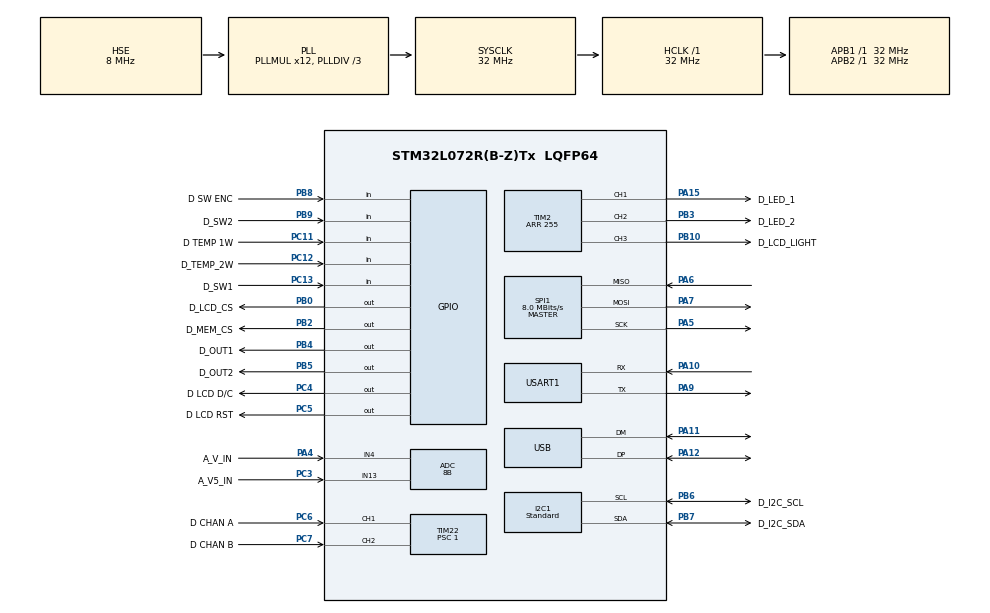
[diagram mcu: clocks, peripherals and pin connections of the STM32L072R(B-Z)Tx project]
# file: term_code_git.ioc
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ADC.Resolution=ADC_RESOLUTION_8B
ADC.SamplingTime=ADC_SAMPLETIME_1CYCLE_5
I2C1.I2C_Speed_Mode=I2C_Standard
I2C1.Speed=100
I2C1.Timing=0x00707CBB
Mcu.Family=STM32L0
Mcu.Name=STM32L072R(B-Z)Tx
Mcu.Package=LQFP64
NVIC.RTC_IRQn=true\:0\:0\:false\:false\:true\:true\:true
NVIC.TIM21_IRQn=true\:0\:0\:false\:false\:true\:true\:true
NVIC.USB_IRQn=true\:0\:0\:false\:false\:true\:true\:true
PA10.Mode=Asynchronous
PA10.Signal=USART1_RX
PA11.Mode=Device
PA11.Signal=USB_DM
PA12.Mode=Device
PA12.Signal=USB_DP
PA13.Mode=Serial_Wire
PA13.Signal=SYS_SWDIO
PA14.Mode=Serial_Wire
PA14.Signal=SYS_SWCLK
PA15.GPIO_Label=D_LED_1
PA15.Signal=S_TIM2_CH1
PA4.GPIO_Label=A_V_IN
PA4.Mode=IN4
PA4.Signal=ADC_IN4
PA5.Mode=Full_Duplex_Master
PA5.Signal=SPI1_SCK
PA6.Mode=Full_Duplex_Master
PA6.Signal=SPI1_MISO
PA7.Mode=Full_Duplex_Master
PA7.Signal=SPI1_MOSI
PA9.Mode=Asynchronous
PA9.Signal=USART1_TX
PB0.GPIO_Label=D_LCD_CS
PB0.PinState=GPIO_PIN_SET
PB0.Signal=GPIO_Output
PB10.GPIO_Label=D_LCD_LIGHT
PB10.Signal=S_TIM2_CH3
PB11.GPIO_Label=D SWO
PB11.Signal=EVENTOUT
PB2.GPIO_Label=D_MEM_CS
PB2.Signal=GPIO_Output
PB3.GPIO_Label=D_LED_2
PB3.Signal=S_TIM2_CH2
PB4.GPIO_Label=D_OUT1
PB4.Signal=GPIO_Output
PB5.GPIO_Label=D_OUT2
PB5.Signal=GPIO_Output
PB6.GPIO_Label=D_I2C_SCL
PB6.Mode=I2C
PB6.Signal=I2C1_SCL
PB7.GPIO_Label=D_I2C_SDA
PB7.Mode=I2C
PB7.Signal=I2C1_SDA
PB8.GPIO_Label=D SW ENC
PB8.GPIO_PuPd=GPIO_PULLUP
PB8.Signal=GPIO_Input
PB9.GPIO_Label=D_SW2
PB9.GPIO_PuPd=GPIO_PULLUP
PB9.Signal=GPIO_Input
PC11.GPIO_Label=D TEMP 1W
PC11.Signal=GPIO_Input
PC12.GPIO_Label=D_TEMP_2W
PC12.Signal=GPIO_Input
PC13.GPIO_Label=D_SW1
PC13.GPIO_PuPd=GPIO_PULLUP
PC13.Signal=GPIO_Input
PC14-OSC32_IN.Mode=LSE-External-Oscillator
PC14-OSC32_IN.Signal=RCC_OSC32_IN
PC15-OSC32_OUT.Mode=LSE-External-Oscillator
PC15-OSC32_OUT.Signal=RCC_OSC32_OUT
PC3.GPIO_Label=A_V5_IN
PC3.Mode=IN13
PC3.Signal=ADC_IN13
PC4.GPIO_Label=D LCD D/C
PC4.Signal=GPIO_Output
PC5.GPIO_Label=D LCD RST
PC5.Signal=GPIO_Output
PC6.GPIO_Label=D CHAN A
PC6.GPIO_PuPd=GPIO_PULLUP
PC6.Signal=S_TIM22_CH1
PC7.GPIO_Label=D CHAN B
PC7.GPIO_PuPd=GPIO_PULLUP
PC7.Signal=S_TIM22_CH2
PH0-OSC_IN.Mode=HSE-External-Oscillator
PH0-OSC_IN.Signal=RCC_OSC_IN
PH1-OSC_OUT.Mode=HSE-External-Oscillator
PH1-OSC_OUT.Signal=RCC_OSC_OUT
ProjectManager.HeapSize=0x200
ProjectManager.StackSize=0x400
ProjectManager.TargetToolchain=Makefile
RCC.AHBFreq_Value=32000000
RCC.APB1Freq_Value=32000000
RCC.APB1TimFreq_Value=32000000
RCC.APB2Freq_Value=32000000
RCC.APB2TimFreq_Value=32000000
RCC.HCLKFreq_Value=32000000
RCC.HSE_VALUE=8000000
RCC.HSI16_VALUE=16000000
RCC.HSI48_VALUE=48000000
RCC.HSI_VALUE=16000000
RCC.MSIClockRange=RCC_MSIRANGE_2
RCC.MSI_VALUE=262144
RCC.PLLDIV=RCC_PLLDIV_3
RCC.PLLMUL=RCC_PLLMUL_12
RCC.RTCClockSelectionVirtual=RCC_RTCCLKSOURCE_LSE
RCC.SYSCLKFreq_VALUE=32000000
RCC.SYSCLKSource=RCC_SYSCLKSOURCE_PLLCLK
RCC.VCOOutputFreq_Value=96000000
RTC.Date=6
RTC.WakeUpCounter-WakeUp=0x2616
RTC.Year=18
SH.S_TIM22_CH1.0=TIM22_CH1,Encoder_Interface
SH.S_TIM22_CH2.0=TIM22_CH2,Encoder_Interface
SH.S_TIM2_CH1.0=TIM2_CH1,PWM Generation1 CH1
SH.S_TIM2_CH2.0=TIM2_CH2,PWM Generation2 CH2
SH.S_TIM2_CH3.0=TIM2_CH3,PWM Generation3 CH3
SPI1.BaudRatePrescaler=SPI_BAUDRATEPRESCALER_4
SPI1.CLKPhase=SPI_PHASE_1EDGE
SPI1.CLKPolarity=SPI_POLARITY_LOW
SPI1.CalculateBaudRate=8.0 MBits/s
SPI1.Direction=SPI_DIRECTION_2LINES
SPI1.Mode=SPI_MODE_MASTER
SPI1.VirtualType=VM_MASTER
TIM2.Channel-PWM\ Generation1\ CH1=TIM_CHANNEL_1
TIM2.Channel-PWM\ Generation2\ CH2=TIM_CHANNEL_2
TIM2.Channel-PWM\ Generation3\ CH3=TIM_CHANNEL_3
TIM2.Period=255
TIM21.ClockDivision=TIM_CLOCKDIVISION_DIV1
TIM21.Period=0x0FFFF
TIM21.Prescaler=32
TIM22.CounterMode=TIM_COUNTERMODE_UP
TIM22.EncoderMode=TIM_ENCODERMODE_TI1
TIM22.IC1Polarity=TIM_ICPOLARITY_FALLING
TIM22.IC1Prescaler=TIM_ICPSC_DIV2
TIM22.IC2Polarity=TIM_ICPOLARITY_RISING
TIM22.IC2Prescaler=TIM_ICPSC_DIV2
TIM22.Period=0xFF
TIM22.Prescaler=1
USART1.VirtualMode-Asynchronous=VM_ASYNC
USB_DEVICE.CLASS_NAME_FS=CDC
USB_DEVICE.USBD_HandleTypeDef=hUsbDeviceFS
USB_DEVICE.VirtualMode=Cdc
USB_DEVICE.VirtualModeFS=Cdc_FS
VP_RTC_VS_RTC_Activate.Mode=RTC_Enabled
VP_RTC_VS_RTC_Calendar.Mode=RTC_Calendar
VP_RTC_VS_RTC_WakeUp_intern.Mode=WakeUp
VP_TIM21_VS_ClockSourceINT.Mode=Internal
VP_USB_DEVICE_VS_USB_DEVICE_CDC_FS.Mode=CDC_FS
board=Termostat_git

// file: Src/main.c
/* USER CODE BEGIN Header */
/**
  ******************************************************************************
  * @file           : main.c
  * @brief          : Main program body
  ******************************************************************************
  * @attention
  *
  * <h2><center>&copy; Copyright (c) 2021 STMicroelectronics.
  * All rights reserved.</center></h2>
  *
  * This software component is licensed by ST under Ultimate Liberty license
  * SLA0044, the "License"; You may not use this file except in compliance with
  * the License. You may obtain a copy of the License at:
  *                             www.st.com/SLA0044
  *
  ******************************************************************************
  */
/* USER CODE END Header */
#include "main.h"
#include "adc.h"
#include "i2c.h"
#include "rtc.h"
#include "spi.h"
#include "tim.h"
#include "usart.h"
#include "usb_device.h"
#include "gpio.h"

/* USER CODE BEGIN Includes */
/**popis
 * 28.9.2020 - testovani Logovani
 *
 * Ukoly:
 * pridej MENU, s nastavenim casu a teplot. funkcni
 * nastveni - 115200-8-N-1, /dev/ttyACM0 // pouzivam "cutecom"
 */
#include "global.h"
#include "pinmap.h"
#include "peripherals.h"
#include "BME280.h"
#include "lcd_12864.h"
#include "ds18b20.h"
#include <stdio.h>
#include "usbd_cdc_if.h"
#include "rtc_api.h"
#include "Time.h"
#include "menu.h"
#include "log.h"
#include "sleep.h"
#include "waiter.h"
#include "heater.h"
#include "usb_api.h"
#include "pwm.h"
/* USER CODE END Includes */

/* USER CODE BEGIN PV */

static States_loop current_state;
static Screen show;
Heating_mode heat_mode;
Mode_auto_s temp_auto; // struktura pro automaticky rezim
Flags_main flags;
uint32_t citac = 0;
int8_t en_count = 0;
int32_t temperature = -20000;
int32_t humid = -5;
uint32_t presure = 0;

// Temp_seting and driving
int32_t temperature_set;
int32_t temperature_manual = 2000;
;
// END Temp_seting and driving

Buttons pushed_button; //cleared each main cycle

/* USER CODE END PV */

void SystemClock_Config(void);

int main(void)
{

	/* MCU Configuration--------------------------------------------------------*/

	/* Reset of all peripherals, Initializes the Flash interface and the Systick. */
	HAL_Init();

	/* Configure the system clock */
	SystemClock_Config();

	/* USER CODE BEGIN SysInit */

	char buffer_s[32];
	//char buffer_usb [32];

	uint16_t T_led = 20;
	actual_HALtick.tick = 0, past_HALtick.tick = 0;
	uint32_t InputVoltage = 0;
	uint8_t en_count_last = 0;
	int16_t count1;
	uint16_t sirka = 0;
	char aShowTime[50] = {0};
	uint8_t heat_instant = 0;

	//debug
	Bool show_time = TRUE;
	//debug

	//timeouts
	Compare_t backlite_compare, measure_compare, led_compare, time_compare, button_compare, heating_compare, logging_compare, show_timeout, heating_instant_timeout;
	backlite_compare.overflow = FALSE, measure_compare.overflow = FALSE, led_compare.overflow = FALSE, time_compare.overflow = FALSE, button_compare.overflow = FALSE, heating_compare.overflow = FALSE, logging_compare.overflow = FALSE, show_timeout.overflow = FALSE, heating_instant_timeout.overflow = FALSE;
	actual_HALtick.overflow = FALSE;
	past_HALtick.overflow = FALSE;

	/* USER CODE END SysInit */

	/* Initialize all configured peripherals */
	MX_GPIO_Init();
	MX_ADC_Init();
	MX_I2C1_Init();
	MX_RTC_Init();
	MX_SPI1_Init();
	MX_TIM21_Init();
	MX_TIM22_Init();
	MX_USB_DEVICE_Init();
	MX_TIM2_Init();
	MX_USART1_UART_Init();
	/* USER CODE BEGIN 2 */

	backlite_init();
	fill_comparer(BACKLITE_TIMEOUT, &backlite_compare);

	lcd12864_init(&hspi1);
	line(0, 60, 110, 60, 1);
	lcd_setCharPos(0, 0);
	lcd_printString("Initialization unit\r");
	lcd_printString("termostat_git\r");
	snprintf(buffer_s, 11, "SW v 0.%d", SW_VERSION);
	lcd_printString(buffer_s);

	HAL_TIM_Encoder_Start(&htim22, TIM_CHANNEL_1);

	htim22.Instance->EGR = 1; // Generate an update event
	htim22.Instance->CR1 = 1; // Enable the counter

	BME280_init(&hi2c1, DEFAULT_SLAVE_ADDRESS); // initialization of temp/humid sensor BOSH

#ifdef DEBUG_TERMOSTAT //debug

#endif

	HAL_Delay(1500);
	lcd_clear();

	//settings variables to default values
	flags.heating_up = FALSE;

	current_state = MEASURING;
	show = desktop;
	flags.log_enable = TRUE; // logging of the actions

	hrej();
	//Init of timers
	fill_comparer(LED_PERIODE, &led_compare);
	fill_comparer(MEASURE_PERIODE, &measure_compare);
	fill_comparer(TIME_PERIODE, &time_compare);
	fill_comparer(BUT_DELAY, &button_compare);
	fill_comparer(10, &heating_compare);		 // check it immediately
	fill_comparer_seconds(30, &logging_compare); // chci zapisovat hned po zmereni hodnot / ZAPNUTI

	mode_auto_init(&temp_auto); // inicializace automatickeho temperovani - nulovani

	show_timeout.tick = 0xfffffffe;
	heating_instant_timeout.tick = 0;
	// ADC - calibration
	if (HAL_ADCEx_Calibration_Start(&hadc, ADC_SINGLE_ENDED) != HAL_OK)
	{
		Error_Handler();
	}

	/* USER CODE END 2 */

	/* Infinite loop */
	/* USER CODE BEGIN WHILE */

	for (;;)
	{

		switch (current_state)
		{
		case SLEEP:
		{ //			neni potreba spanku
			Go_To_Sleep(&hrtc);
			current_state = MEASURING;
			show_time = TRUE;
			break;
		}
		case IDLE:
		{
			break;
		}
		case MEASURING:
		{

			temperature = BME280_getTemperature();
			humid = BME280_getHumidity();
			//	presure=BME280_getPressure();
			current_state = IDLE;
#ifdef DEBUG_TERMOSTAT //debug
			current_state = VOLTAGE;
#endif
			flags.new_data_to_show = TRUE;

			fill_comparer(MEASURE_PERIODE, &measure_compare);
			break;
		}
		case VOLTAGE:

		{
			HAL_ADC_Start(&hadc);
			if (HAL_ADC_PollForConversion(&hadc, 10) == HAL_OK)
			{
				InputVoltage = HAL_ADC_GetValue(&hadc);
			}

			flags.new_data_to_show = TRUE;
			current_state = IDLE;

			break;
		}
		/* there is a process, of heating with the heater.
		 *The heater is turned on by OUT1, when the temperature is below temperature_set-Hysteresis
		 */
		case HEATING:
		{

			if (AUTO == heat_mode)
			{
				temperature_set = mode_auto_temperature(&temp_auto, &hrtc); // teplota na jakou se ma topit

				if (temperature_set == -20000) // vypni topeni
				{
					flags.heating_up = FALSE;
					flags.regulation_temp = FALSE;
				}
				else if (temperature_set == -21000)
				{
					flags.heating_up = FALSE;
					flags.regulation_temp = FALSE;
				}
				else
				{
					flags.regulation_temp = TRUE;
				}
			}

			if (flags.heating_instant) // INSTANTni vyhrivani - vzdy jen max 2 hodiny
			{
				if (!comparer_timeout(&heating_instant_timeout))
					turnOnHeater(temperature);
				else
				{
					flags.heating_instant = FALSE;
					flags.heating_instant_req = TRUE;
					heat_instant = 0;
				}
			}
			else // bezny provoz
			{
				if (flags.regulation_temp & (temperature < temperature_set))
				{
					if (flags.heating_up) // if the heater is turned on, keep continue with heating.
					{
						turnOnHeater(temperature);
					}
					else
					{ // when the heater is not active, wait until the temperature fall below threshold-Hysteresis
						if (temperature < (temperature_set - HEATING_HYSTERESIS))
						{
							flags.heating_up = TRUE;
							turnOnHeater(temperature);
						}
					}
				} // end-if

				else // vypni topeni
				{

					turnOffHeater();
					flags.heating_up = FALSE;
				}
			}
			fill_comparer(HEATING_PERIODE, &heating_compare);
			current_state = IDLE;
			break;
		}
#ifdef LOG_ENABLE
		case LOG:
		{
			if (flags.log_enable)
			{
				Log_Temperature(&hrtc, temperature, humid);
			}
			fill_comparer_seconds(LOG_PERIODE, &logging_compare);
			sirka = Log_memory_fullness() * LCD_WIDTH / LOG_DATA_LENGTH;
			current_state = IDLE;
			break;
		}
#endif
		default:
		{
			break;
		}

		} // end of switch CURRENT STATE

		/* **** SCREEN **** */
		switch (show)
		{

		case blind:
		{
			lcd_clear();
			show = idle;
			break;
		}
		case desktop:
		{ // showing main screen - temperatures and Hum
			if (flags.new_data_to_show == TRUE)
			{
				// BME280 sensor
				lcd_setCharPos(1, 2);
				char_magnitude(2);
				snprintf(buffer_s, 12, "%3ld.%02d C", temperature / 100, abs(temperature % 100));
				lcd_printString(buffer_s);
#ifdef DEBUG_TERMOSTAT //debug
				char_magnitude(1);
#endif
				char_magnitude(1);
				lcd_setCharPos(5, 2);
				snprintf(buffer_s, 21, "Humidity  %3ld.%02ld%%", (humid / 1024), humid % 1024 * 100 / 1024);
				lcd_printString(buffer_s);
#ifdef DEBUG_TERMOSTAT //debug
				char_magnitude(2);
#endif
				// Marking - heating is active/not active
				lcd_setCharPos(3, 4);
				lcd_printString(MENU_SET_TEMP_AUTO_STATE_TEXT);
				lcd_printString(" ");
				switch (heat_mode)
				{
				case OFF:
					lcd_printString("OFF ");
					break;
				case MANUAL:
					lcd_printString("ON  ");
					break;
				case AUTO:
					lcd_printString("Auto");
					break;
				default:
					lcd_printString("Err"); //ERROR dostal jsem se mimo definovanou skupinu
					break;
				}

				if (flags.heating_instant_req)
				{
					flags.heating_instant_req = FALSE;
					if (!flags.heating_instant)
					{
						lcd_setCharPos(4, 19);
						lcd_printString(" ");
						char_magnitude(1);
						lcd_setCharPos(6, 15);
						snprintf(buffer_s, 8, "        ");
						lcd_printString(buffer_s);
					}
				}

				// END Marking - heating is active/not active

				char_magnitude(1);
				lcd_setCharPos(4, 3);
				if (-20000 == temperature_set)
					snprintf(buffer_s, 24, MENU_DESKTOP_TEMP_SET_TEXT"  OFF       ");
				else if (-21000 == temperature_set)
				{
					snprintf(buffer_s, 24, MENU_DESKTOP_TEMP_SET_TEXT" NO PRESET");
				}
				else
					snprintf(buffer_s, 24, MENU_DESKTOP_TEMP_SET_TEXT" %3ld.%02d C ", temperature_set / 100, abs(temperature_set % 100));
				lcd_printString(buffer_s);

				/*	lcd_setCharPos(6,4);
  					snprintf(buffer_s, 18, "Pres %d.%02d hp",presure/100,presure%100);
  					lcd_printString(buffer_s);
				 */

#ifdef DEBUG_TERMOSTAT //debug
				lcd_setCharPos(5, 0);
				snprintf(buffer_s, 13, "%lu-> %lu.%02luV", InputVoltage, InputVoltage * 66 / 2550, (InputVoltage * 66 % 2550 * 100 / 255) / 10); // get two numbers for voltage
				lcd_printString(buffer_s);
#endif
				flags.new_data_to_show = FALSE; // the data was showed.

				/* Ukazka plnosti pameti na logovani */
				// cara bude na spodni strane a bude tri tecky siroka
				{
					line(0, 62, sirka, 62, 1);
				}

				if ((heat_mode == AUTO) & (!flags.heating_instant))
					mode_auto_graph(&temp_auto, &hrtc); // zakresleni casoveho diagramu zapnuti/ vypnuti topeni

			} // end if - new data to show
			if (show_time)
			{
				RTC_DateShow(&hrtc, aShowTime);
				lcd_setCharPos(0, 11);
				lcd_printString(aShowTime);
				RTC_TimeShow(&hrtc, aShowTime);
				lcd_setCharPos(0, 1);
				lcd_printString(aShowTime);

				if (flags.heating_instant) // odpocet casu pro instant heating
				{
					char_magnitude(2);
					lcd_setCharPos(4, 19);
					_putc(0x07f);
					char_magnitude(1);
					lcd_setCharPos(6, 15);
					uint16_t instantEndTime = end_of_timeout(&heating_instant_timeout);
					snprintf(buffer_s, 8, "%3u:%02u", instantEndTime / 60, instantEndTime % 60);
					lcd_printString(buffer_s);
				}
				fill_comparer(TIME_PERIODE, &time_compare);
				show_time = FALSE;
			}
			break;
		}
		case idle:
		{
			break;
		}

		case menu:
		{
			display_menu(ActualMenu);
			break;
		}

		case debug:
		{
			lcd_clear();
			RTC_DateShow(&hrtc, aShowTime);
			lcd_setCharPos(1, 10);
			lcd_printString(aShowTime);

			RTC_TimeShow(&hrtc, aShowTime);
			lcd_setCharPos(1, 0);
			lcd_printString(aShowTime);

			//CITAC
			uint32_t sekundy = (SlaveCounter << 16) / 1000000;

			lcd_setCharPos(4, 1);
			snprintf(buffer_s, 20, "%03lu:%02lu", sekundy / 60, sekundy % 60);
			lcd_printString(buffer_s);

			// reading the actual number from encoder

			count1 = htim22.Instance->CNT;
			lcd_setCharPos(5, 0);
			snprintf(buffer_s, 25, "s %i \r t %i ms", (count1 + T_led) * MAIN_LOOP * 2, MAIN_LOOP * 2 * T_led);
			lcd_printString(buffer_s);

			lcd_setCharPos(7, 0);
			snprintf(buffer_s, 9, "EN%03i", (count1));
			lcd_printString(buffer_s);

			snprintf(buffer_s, 12, "; enc%03i", (en_count));
			lcd_printString(buffer_s);

			HAL_Delay(500);
			break;
		}
		default:
		{
			lcd_setCharPos(1, 1);
			lcd_printString("ERROR display -default");
		}
		} // switch show
		/**
		 * 2.1.2018 -
  	1) objevil jsem chybu pri cteni time elapsing. Mam to spatne. Muze se stat, ze mi timer bude blbe fungovat, kdyz budu pricitat testne pred pretecenim promene a vykonavani se bude konat mozna az po preteceni timeru...

  	2) Cteni tlacitek by se melo provadet pokazde a po stisknuti by se melo dalsi cteni oddalit na delsi cas - 200-300 ms?
		 *
		 */

		/* *------ TIME ELAPSING CHECK -------* */
		get_actual_HAL_tick(); // put the actual number of ms counter to variable actual_HALtic.tick

		if (comparer_timeout(&logging_compare)) //log data after defined period.
		{
			current_state = LOG;
		}
		if (comparer_timeout(&heating_compare)) //measure after defined period.
		{
			current_state = HEATING;
		}
		if (comparer_timeout(&measure_compare)) //measure after defined period.
		{
			current_state = MEASURING;
		}
		if (comparer_timeout(&time_compare)) //change time after defined period.
		{
			show_time = TRUE;
		}

		if (comparer_timeout(&show_timeout)) //change time after defined period.
		{
			show = desktop;
		}
		// MENU TIMEOUT
		if (TRUE == flags.menu_running)
		{ // je to takhle slozite , protoze jsem neprisel na jiny efektivni zpusob, jak smazat displej, po zkonceni menu
			if (!menu_timout())
			{
				uint8_t menu_exit_code = menu_action();
				if (1 != menu_exit_code)
				{ // exit from menu condition

					switch (menu_exit_code)
					{
					case 20: // exit after log erasse
						sirka = Log_memory_fullness() * LCD_WIDTH / LOG_DATA_LENGTH;
						break;
					}
					flags.menu_running = 0;
					lcd_clear();
					show = desktop;
				}
				else
					show = menu;
			} // if menu - TIMEOUT
			else
			{
				flags.menu_running = 0;
				lcd_clear();
				show = desktop;
			}
			fill_comparer(BACKLITE_TIMEOUT, &backlite_compare); // Pro udrzeni rozsviceneho displeje v menu! NETESTOVANO.
		}
		if (flags.temp_new_set)
		{
			flags.temp_new_set = FALSE;
			temperature_set = temperature_manual;
			show = desktop;
		}
		if (comparer_timeout(&backlite_compare))
		{
			backliteOff();
		}

		/* *---- READ KEYBOARD -----* */

		pushed_button = BUT_NONE;
		if (comparer_timeout(&button_compare)) //every delay time
		{
			pushed_button = checkButtons();
			fill_comparer(BUT_DELAY, &button_compare);

			// reading the actual number from encoder
			uint32_t actual_counter_CNT = htim22.Instance->CNT;
			if (en_count_last != actual_counter_CNT)
			{
				en_count += actual_counter_CNT - en_count_last;
				en_count_last = actual_counter_CNT;
				flags.enc_changed = TRUE;
				if (pushed_button == BUT_NONE) // enabling light/ increase time constants.
					pushed_button = ENCODER;
			}
		}
		if (pushed_button != BUT_NONE) // any button pushed?
		{
			backliteOn();
			fill_comparer(BUT_DELAY * 300, &button_compare); // 200x - zpozdeni cteni pri stisknuti
			fill_comparer(BACKLITE_TIMEOUT, &backlite_compare);
			fill_comparer(SHOW_TIMEOUT, &show_timeout);
			// neco se zmenilo uzivatel - prekreslit cely displej
			flags.new_data_to_show = TRUE;
		}

		// -- BUTTON PROCCESS
		switch (pushed_button)
		{
		case BUT_1:
		{ // activate heater

			heat_mode++; // cyklovani modu pro termostat
			switch (heat_mode)
			{
			case OFF:
			{
				flags.regulation_temp = FALSE;
#ifndef DEBUG_TERMOSTAT								  ///// NOT - NEGOVANE!
				temperature_set = temperature_manual; // kvuli zobrazovani, jinak tam muze byt -210 apodobne
#endif
				mode_auto_graph_delete();
				break;
			}
			case MANUAL:
			{
				flags.regulation_temp = TRUE;
				flags.heating_up = TRUE;
				temperature_set = temperature_manual;
				mode_auto_graph_delete();
				break;
			}
			case AUTO:
			{
				flags.regulation_temp = TRUE;
				flags.heating_up = TRUE;
				break;
			}
			default:
			{
				flags.regulation_temp = FALSE;
				heat_mode = OFF;
				break;
			}
			}

			break;
		}
		case BUT_2:
		{ // Immediattely heating for 15 minutes

			flags.heating_instant = TRUE;
			flags.heating_instant_req = TRUE;
			heat_instant++;
			if (6 < heat_instant)
			{
				flags.heating_instant = FALSE;
				heat_instant = 0;
			}
			fill_comparer_seconds(HEATING_INSTANT * heat_instant, &heating_instant_timeout);
			break;
		}
		case BUT_ENC:
		{
			flags.enc_changed = TRUE; // jenom pomoc aby se zobrazila sipka vzdy...
			if (0 == flags.menu_running)
			{
				flags.menu_activate = 1;
				en_count = 0;
				en_count_last = 0;
				htim22.Instance->CNT = 0;
				activation_memu();
				lcd_clear();
				show = menu;

				// if this command means go to menu, That there shouldn't be no more pressed.
				pushed_button = BUT_NONE;
			}
			break;
		}
		case ENCODER:
		{
			break;
		}
		default:
		{

			break;
		}

		} // switch pushed button

		HAL_Delay(MAIN_LOOP);

#ifdef DEBUG_TERMOSTAT
		debug_led_heartbeat();
#endif
		/*
#ifdef DEBUG_TERMOSTAT
uint8_t buffer_menu2 [32] = "";
		cas_konce = HAL_GetTick();
		cas_index++;
		cas_aktualni = cas_konce - cas_zacatku;
		cas_celkem += cas_aktualni;
		cas_prumer = cas_celkem / cas_index;
if(0==cas_index%100){
		snprintf(buffer_s, 18, "aktualni %08lu", cas_aktualni);
		for (int j=0; j<32;j++){
						buffer_menu2[j] = (uint8_t *)buffer_s[j];
					}
		{
			HAL_Delay(3);
			cas_transmit = CDC_Transmit_FS(&buffer_menu2[0],18);
		}while (cas_transmit == USBD_BUSY);
		cas_transmit = 1;
		snprintf(buffer_s, 16, "prumer %08lu", cas_prumer);
		for (int j=0; j<32;j++){
						buffer_menu2[j] = (uint8_t *)buffer_s[j];
					}
		{
			HAL_Delay(3);
			cas_transmit = CDC_Transmit_FS(&buffer_menu2[0],16);
		}while (cas_transmit == USBD_BUSY);
}

#endif
*/
		/* USER CODE END WHILE */

	}
}

void SystemClock_Config(void)
{
	RCC_OscInitTypeDef RCC_OscInitStruct = {0};
	RCC_ClkInitTypeDef RCC_ClkInitStruct = {0};
	RCC_PeriphCLKInitTypeDef PeriphClkInit = {0};

	/** Configure the main internal regulator output voltage
  */
	__HAL_PWR_VOLTAGESCALING_CONFIG(PWR_REGULATOR_VOLTAGE_SCALE1);
	/** Configure LSE Drive Capability
  */
	HAL_PWR_EnableBkUpAccess();
	__HAL_RCC_LSEDRIVE_CONFIG(RCC_LSEDRIVE_LOW);
	/** Initializes the RCC Oscillators according to the specified parameters
  * in the RCC_OscInitTypeDef structure.
  */
	RCC_OscInitStruct.OscillatorType = RCC_OSCILLATORTYPE_HSE | RCC_OSCILLATORTYPE_LSE;
	RCC_OscInitStruct.HSEState = RCC_HSE_ON;
	RCC_OscInitStruct.LSEState = RCC_LSE_ON;
	RCC_OscInitStruct.PLL.PLLState = RCC_PLL_ON;
	RCC_OscInitStruct.PLL.PLLSource = RCC_PLLSOURCE_HSE;
	RCC_OscInitStruct.PLL.PLLMUL = RCC_PLLMUL_12;
	RCC_OscInitStruct.PLL.PLLDIV = RCC_PLLDIV_3;
	if (HAL_RCC_OscConfig(&RCC_OscInitStruct) != HAL_OK)
	{
		Error_Handler();
	}
	/** Initializes the CPU, AHB and APB buses clocks
  */
	RCC_ClkInitStruct.ClockType = RCC_CLOCKTYPE_HCLK | RCC_CLOCKTYPE_SYSCLK | RCC_CLOCKTYPE_PCLK1 | RCC_CLOCKTYPE_PCLK2;
	RCC_ClkInitStruct.SYSCLKSource = RCC_SYSCLKSOURCE_PLLCLK;
	RCC_ClkInitStruct.AHBCLKDivider = RCC_SYSCLK_DIV1;
	RCC_ClkInitStruct.APB1CLKDivider = RCC_HCLK_DIV1;
	RCC_ClkInitStruct.APB2CLKDivider = RCC_HCLK_DIV1;

	if (HAL_RCC_ClockConfig(&RCC_ClkInitStruct, FLASH_LATENCY_1) != HAL_OK)
	{
		Error_Handler();
	}
	PeriphClkInit.PeriphClockSelection = RCC_PERIPHCLK_USART1 | RCC_PERIPHCLK_I2C1 | RCC_PERIPHCLK_RTC | RCC_PERIPHCLK_USB;
	PeriphClkInit.Usart1ClockSelection = RCC_USART1CLKSOURCE_PCLK2;
	PeriphClkInit.I2c1ClockSelection = RCC_I2C1CLKSOURCE_PCLK1;
	PeriphClkInit.RTCClockSelection = RCC_RTCCLKSOURCE_LSE;
	PeriphClkInit.UsbClockSelection = RCC_USBCLKSOURCE_PLL;
	if (HAL_RCCEx_PeriphCLKConfig(&PeriphClkInit) != HAL_OK)
	{
		Error_Handler();
	}
}

void Error_Handler(void)
{
	__disable_irq();
	while (1)
	{
	}
}

/************************ (C) COPYRIGHT STMicroelectronics *****END OF FILE****/
